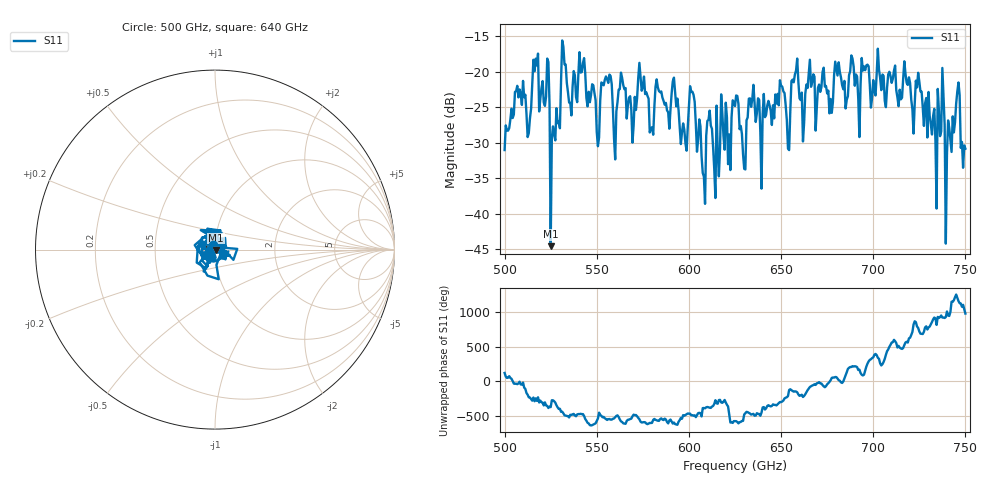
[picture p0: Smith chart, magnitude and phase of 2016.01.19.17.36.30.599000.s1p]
!Created with skrf (http://scikit-rf.org).
# GHz S RI R 50.0
!freq ReS11 ImS11
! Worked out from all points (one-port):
!   401 points, 500 GHz to 750 GHz, reference 50 ohm
!   lowest |S11| = -44.6 dB at 525 GHz (marker M1), VSWR 1.01, Z = 50.6 - j0.169 ohm
!   |S11| at or under -10 dB: start of sweep to end of sweep
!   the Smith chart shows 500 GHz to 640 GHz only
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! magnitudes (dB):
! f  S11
! 500 GHz  -31.0
! 506.9 GHz  -22.0
! 513.1 GHz  -28.6
! 516.9 GHz  -18.1
! 525 GHz  -44.6
! 531.2 GHz  -15.6
! 541.9 GHz  -20.0
! 550.6 GHz  -30.5
! 562.5 GHz  -22.4
! 593.8 GHz  -23.8
! 598.1 GHz  -30.1
! 601.9 GHz  -22.8
! 608.1 GHz  -34.8
! 610.6 GHz  -26.8
! 615 GHz  -24.8
! 625 GHz  -24.8
! 629.4 GHz  -31.7
! 633.8 GHz  -24.9
! 650.6 GHz  -22.1
! 653.8 GHz  -30.8
! 656.2 GHz  -21.1
! 687.5 GHz  -19.9
! 718.8 GHz  -21.9
! 733.1 GHz  -25.2
! 736.9 GHz  -28.4
! 740.6 GHz  -26.9
! 745.6 GHz  -22.7
! 750 GHz  -30.8
